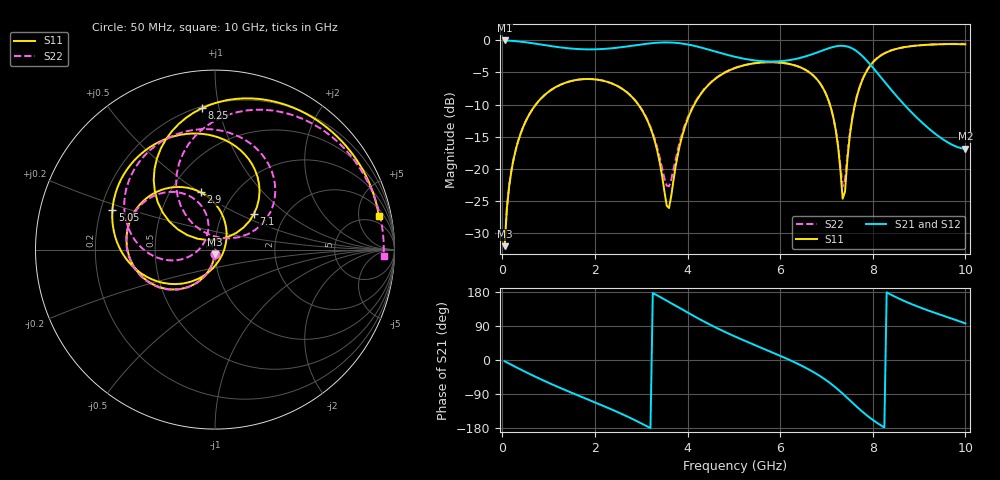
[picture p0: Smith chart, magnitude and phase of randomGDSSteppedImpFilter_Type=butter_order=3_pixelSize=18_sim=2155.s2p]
! freq	dB(S11)	phase(S11)	dB(S12)	phase(S12)
!  dB(S21)	phase(S21)	dB(S22)	phase(S22)
!S-par simulation data
#  GHz  S  DB  R 50
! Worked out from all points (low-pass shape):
!   200 points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, 50 MHz to 10 GHz, reference 50 ohm
!   highest |S21| = -0.01 dB at 50 MHz (marker M1); lowest = -16.9 dB at 10 GHz (marker M2)
!   |S21| within 3 dB of the highest: start of sweep to 5.34 GHz; 6.254 GHz to 7.853 GHz (1.599 GHz wide, 22.7 % of centre)
!   lowest |S11| = -32.1 dB at 50 MHz (marker M3), VSWR 1.05, Z = 49.8 - j2.48 ohm
!   |S11| at or under -10 dB: start of sweep to 724.4 MHz; 2.936 GHz to 4.146 GHz (1.21 GHz wide, 34.2 % of centre); 7.073 GHz to 7.617 GHz (543.8 MHz wide, 7.4 % of centre)
!   |S22| runs from -32.1 to -0.5 dB; largest |S21 - S12| = 0
!   S11 on the Smith chart (normalised r, x): 50 MHz: 1.00, -0.05; 2.9 GHz: 0.70, +0.50; 5.05 GHz: 0.25, +0.18; 7.1 GHz: 1.40, +0.61; 8.25 GHz: 0.21, +0.89; 10 GHz: 3.18, +8.86
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0.05  -32.08 -93.3  -0.01 -3.2  -0.01 -3.2  -32.08 -93.2
0.2  -20.17 -103.2  -0.06 -12.8  -0.06 -12.8  -20.17 -103.1
0.5  -12.69 -122.0  -0.28 -31.4  -0.28 -31.4  -12.69 -121.8
1.05  -7.74 -153.9  -0.89 -63.0  -0.89 -63.0  -7.75 -153.2
1.75  -6.04 169.4  -1.38 -99.2  -1.38 -99.2  -6.03 171.3
2.9  -9.65 104.1  -0.73 -161.0  -0.73 -161.0  -9.60 115.5
3.4  -19.03 54.6  -0.34 166.8  -0.34 166.8  -18.27 107.6
3.6  -26.14 -35.6  -0.32 153.0  -0.32 153.0  -22.72 157.7
3.85  -15.86 -113.9  -0.46 135.5  -0.46 135.5  -15.32 -163.9
4.1  -10.65 -139.1  -0.77 118.3  -0.77 118.3  -10.47 -169.8
5.05  -4.25 158.7  -2.60 60.6  -2.60 60.6  -4.21 141.0
5.95  -3.44 112.0  -3.26 13.7  -3.26 13.7  -3.42 95.9
6.7  -5.38 69.7  -2.14 -30.5  -2.14 -30.5  -5.37 54.1
7.1  -10.62 42.5  -1.11 -62.9  -1.11 -62.9  -10.59 28.3
7.25  -16.50 38.2  -0.87 -77.9  -0.87 -77.9  -16.26 27.0
7.35  -24.68 73.7  -0.84 -88.7  -0.84 -88.7  -22.76 63.6
7.55  -12.52 151.4  -1.23 -111.4  -1.23 -111.4  -12.25 130.6
7.7  -7.67 140.4  -1.95 -128.3  -1.95 -128.3  -7.55 121.1
8.25  -2.03 95.2  -6.41 -177.9  -6.41 -177.9  -1.99 77.2
8.35  -1.70 88.6  -7.28 175.2  -7.28 175.2  -1.67 70.7
9.1  -0.72 49.2  -13.04 135.0  -13.04 135.0  -0.70 32.2
10  -0.62 11.4  -16.88 96.6  -16.88 96.6  -0.53 -2.3
